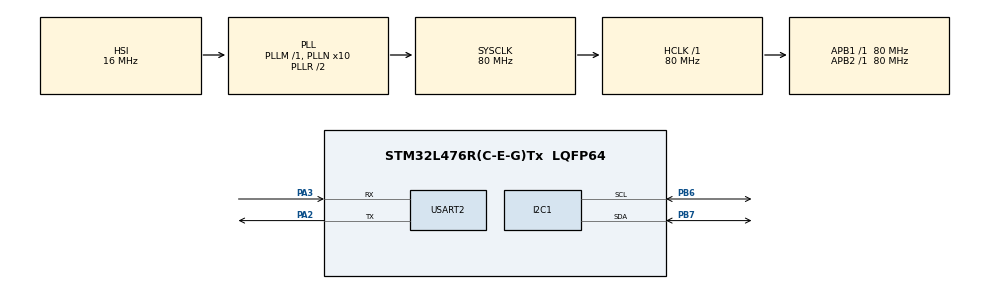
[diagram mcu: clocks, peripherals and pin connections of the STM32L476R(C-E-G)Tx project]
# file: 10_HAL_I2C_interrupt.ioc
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I2C1.Timing=0x10D19CE4
Mcu.Family=STM32L4
Mcu.Name=STM32L476R(C-E-G)Tx
Mcu.Package=LQFP64
NVIC.I2C1_ER_IRQn=true\:2\:0\:true\:false\:true\:true\:true\:true
NVIC.I2C1_EV_IRQn=true\:2\:0\:true\:false\:true\:true\:true\:true
NVIC.PriorityGroup=NVIC_PRIORITYGROUP_4
PA13\ (JTMS-SWDIO).GPIO_Label=TMS
PA13\ (JTMS-SWDIO).Mode=Serial_Wire
PA13\ (JTMS-SWDIO).Signal=SYS_JTMS-SWDIO
PA14\ (JTCK-SWCLK).GPIO_Label=TCK
PA14\ (JTCK-SWCLK).Mode=Serial_Wire
PA14\ (JTCK-SWCLK).Signal=SYS_JTCK-SWCLK
PA2.Mode=Asynchronous
PA2.Signal=USART2_TX
PA3.Mode=Asynchronous
PA3.Signal=USART2_RX
PB3\ (JTDO-TRACESWO).GPIO_Label=SWO
PB3\ (JTDO-TRACESWO).Signal=SYS_JTDO-SWO
PB6.Mode=I2C
PB6.Signal=I2C1_SCL
PB7.Mode=I2C
PB7.Signal=I2C1_SDA
ProjectManager.HeapSize=0x200
ProjectManager.StackSize=0x400
ProjectManager.TargetToolchain=STM32CubeIDE
RCC.ADCFreq_Value=64000000
RCC.AHBFreq_Value=80000000
RCC.APB1Freq_Value=80000000
RCC.APB1TimFreq_Value=80000000
RCC.APB2Freq_Value=80000000
RCC.APB2TimFreq_Value=80000000
RCC.CortexFreq_Value=80000000
RCC.HCLKFreq_Value=80000000
RCC.HSE_VALUE=8000000
RCC.HSI_VALUE=16000000
RCC.LSE_VALUE=32768
RCC.MSI_VALUE=4000000
RCC.PLLN=10
RCC.PLLSourceVirtual=RCC_PLLSOURCE_HSI
RCC.PREFETCH_ENABLE=1
RCC.SYSCLKFreq_VALUE=80000000
RCC.SYSCLKSource=RCC_SYSCLKSOURCE_PLLCLK
RCC.USBFreq_Value=64000000
RCC.VCOOutputFreq_Value=160000000
USART2.VirtualMode-Asynchronous=VM_ASYNC
board=NUCLEO-L476RG

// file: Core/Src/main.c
/* USER CODE BEGIN Header */
/**
  ******************************************************************************
  * @file           : main.c
  * @brief          : Main program body
  ******************************************************************************
  * @attention
  *
  * Copyright (c) 2025 STMicroelectronics.
  * All rights reserved.
  *
  * This software is licensed under terms that can be found in the LICENSE file
  * in the root directory of this software component.
  * If no LICENSE file comes with this software, it is provided AS-IS.
  *
  ******************************************************************************
  */
/* USER CODE END Header */
#include "main.h"

/* USER CODE BEGIN Includes */
#define MISO PA6
#define MOSI PA7
#define SCK PA5
#define CS	PA4
#include<stdio.h>
/* USER CODE END Includes */

I2C_HandleTypeDef hi2c1;

UART_HandleTypeDef huart2;

void SystemClock_Config(void);
static void MX_GPIO_Init(void);
static void MX_USART2_UART_Init(void);
static void MX_I2C1_Init(void);
/* USER CODE BEGIN PFP */
void mymain(void);
/* USER CODE END PFP */

/* USER CODE BEGIN 0 */
extern void initialise_monitor_handles();
static int done ;
void HAL_I2C_ErrorCallback(I2C_HandleTypeDef *hi2c){
		hi2c->ErrorCode = 32;
}

/* USER CODE END 0 */

int main(void)
{

  /* USER CODE BEGIN 1 */
	//my_main();
	initialise_monitor_handles();
  /* USER CODE END 1 */

  /* MCU Configuration--------------------------------------------------------*/

  /* Reset of all peripherals, Initializes the Flash interface and the Systick. */
  HAL_Init();

  /* Configure the system clock */
  SystemClock_Config();

  /* Initialize all configured peripherals */
  MX_GPIO_Init();
  MX_USART2_UART_Init();
  MX_I2C1_Init();

  /* Infinite loop */
  while (1)
  {

    /* USER CODE BEGIN 3 */
	  uint8_t byte = 0x4;
	  done = 0;
	  HAL_I2C_Master_Transmit_IT(&hi2c1,0x43,&byte,1);
	  HAL_Delay(1000);
	  printf("%lu %u\n",hi2c1.ErrorCode,HAL_I2C_ERROR_TIMEOUT);
	  HAL_Delay(1000);
  }
  /* USER CODE END 3 */
}

void SystemClock_Config(void)
{
  RCC_OscInitTypeDef RCC_OscInitStruct = {0};
  RCC_ClkInitTypeDef RCC_ClkInitStruct = {0};

  /** Configure the main internal regulator output voltage
  */
  if (HAL_PWREx_ControlVoltageScaling(PWR_REGULATOR_VOLTAGE_SCALE1) != HAL_OK)
  {
    Error_Handler();
  }

  /** Initializes the RCC Oscillators according to the specified parameters
  * in the RCC_OscInitTypeDef structure.
  */
  RCC_OscInitStruct.OscillatorType = RCC_OSCILLATORTYPE_HSI;
  RCC_OscInitStruct.HSIState = RCC_HSI_ON;
  RCC_OscInitStruct.HSICalibrationValue = RCC_HSICALIBRATION_DEFAULT;
  RCC_OscInitStruct.PLL.PLLState = RCC_PLL_ON;
  RCC_OscInitStruct.PLL.PLLSource = RCC_PLLSOURCE_HSI;
  RCC_OscInitStruct.PLL.PLLM = 1;
  RCC_OscInitStruct.PLL.PLLN = 10;
  RCC_OscInitStruct.PLL.PLLP = RCC_PLLP_DIV7;
  RCC_OscInitStruct.PLL.PLLQ = RCC_PLLQ_DIV2;
  RCC_OscInitStruct.PLL.PLLR = RCC_PLLR_DIV2;
  if (HAL_RCC_OscConfig(&RCC_OscInitStruct) != HAL_OK)
  {
    Error_Handler();
  }

  /** Initializes the CPU, AHB and APB buses clocks
  */
  RCC_ClkInitStruct.ClockType = RCC_CLOCKTYPE_HCLK|RCC_CLOCKTYPE_SYSCLK
                              |RCC_CLOCKTYPE_PCLK1|RCC_CLOCKTYPE_PCLK2;
  RCC_ClkInitStruct.SYSCLKSource = RCC_SYSCLKSOURCE_PLLCLK;
  RCC_ClkInitStruct.AHBCLKDivider = RCC_SYSCLK_DIV1;
  RCC_ClkInitStruct.APB1CLKDivider = RCC_HCLK_DIV1;
  RCC_ClkInitStruct.APB2CLKDivider = RCC_HCLK_DIV1;

  if (HAL_RCC_ClockConfig(&RCC_ClkInitStruct, FLASH_LATENCY_4) != HAL_OK)
  {
    Error_Handler();
  }
}

static void MX_I2C1_Init(void)
{

  hi2c1.Instance = I2C1;
  hi2c1.Init.Timing = 0x10D19CE4;
  hi2c1.Init.OwnAddress1 = 0;
  hi2c1.Init.AddressingMode = I2C_ADDRESSINGMODE_7BIT;
  hi2c1.Init.DualAddressMode = I2C_DUALADDRESS_DISABLE;
  hi2c1.Init.OwnAddress2 = 0;
  hi2c1.Init.OwnAddress2Masks = I2C_OA2_NOMASK;
  hi2c1.Init.GeneralCallMode = I2C_GENERALCALL_DISABLE;
  hi2c1.Init.NoStretchMode = I2C_NOSTRETCH_DISABLE;
  if (HAL_I2C_Init(&hi2c1) != HAL_OK)
  {
    Error_Handler();
  }

  /** Configure Analogue filter
  */
  if (HAL_I2CEx_ConfigAnalogFilter(&hi2c1, I2C_ANALOGFILTER_ENABLE) != HAL_OK)
  {
    Error_Handler();
  }

  /** Configure Digital filter
  */
  if (HAL_I2CEx_ConfigDigitalFilter(&hi2c1, 0) != HAL_OK)
  {
    Error_Handler();
  }

}

static void MX_USART2_UART_Init(void)
{

  huart2.Instance = USART2;
  huart2.Init.BaudRate = 115200;
  huart2.Init.WordLength = UART_WORDLENGTH_8B;
  huart2.Init.StopBits = UART_STOPBITS_1;
  huart2.Init.Parity = UART_PARITY_NONE;
  huart2.Init.Mode = UART_MODE_TX_RX;
  huart2.Init.HwFlowCtl = UART_HWCONTROL_NONE;
  huart2.Init.OverSampling = UART_OVERSAMPLING_16;
  huart2.Init.OneBitSampling = UART_ONE_BIT_SAMPLE_DISABLE;
  huart2.AdvancedInit.AdvFeatureInit = UART_ADVFEATURE_NO_INIT;
  if (HAL_UART_Init(&huart2) != HAL_OK)
  {
    Error_Handler();
  }

}

static void MX_GPIO_Init(void)
{

  /* GPIO Ports Clock Enable */
  __HAL_RCC_GPIOA_CLK_ENABLE();
  __HAL_RCC_GPIOB_CLK_ENABLE();

}

void Error_Handler(void)
{
  __disable_irq();
  while (1)
  {
  }
}
